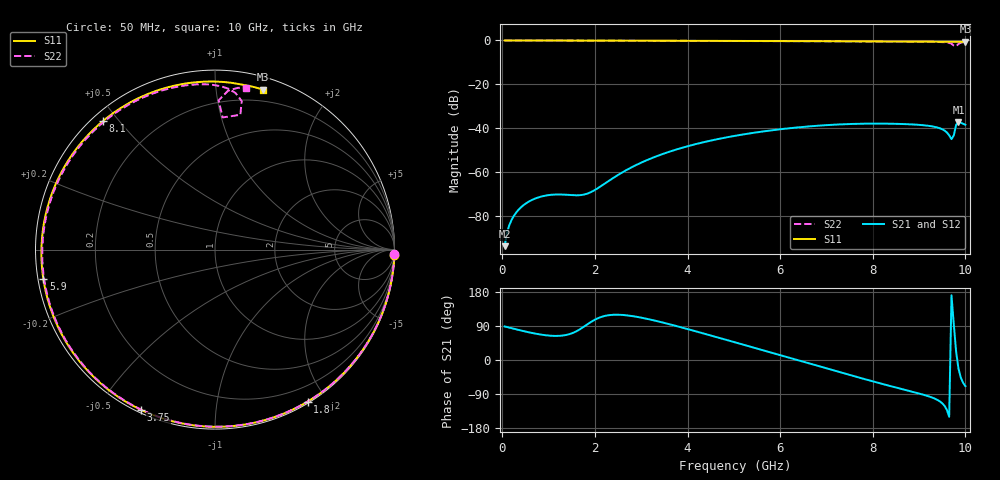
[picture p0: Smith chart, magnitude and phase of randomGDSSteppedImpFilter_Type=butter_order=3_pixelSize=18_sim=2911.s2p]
! freq	dB(S11)	phase(S11)	dB(S12)	phase(S12)
!  dB(S21)	phase(S21)	dB(S22)	phase(S22)
!S-par simulation data
#  GHz  S  DB  R 50
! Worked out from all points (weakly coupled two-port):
!   200 points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, 50 MHz to 10 GHz, reference 50 ohm
!   highest |S21| = -37.26 dB at 9.85 GHz (marker M1); lowest = -93.8 dB at 50 MHz (marker M2)
!   lowest |S11| = -0.6 dB at 10 GHz (marker M3), VSWR 27.77, Z = 5.05 + j67.1 ohm
!   |S11| at or under -10 dB: nowhere
!   |S22| runs from -2.6 to 0.0 dB; largest |S21 - S12| = 0
!   S11 on the Smith chart (normalised r, x): 50 MHz: 0, -68; 1.8 GHz: 0.02, -1.78; 3.75 GHz: 0.01, -0.64; 5.9 GHz: 0.02, -0.09; 8.1 GHz: 0.03, +0.45; 10 GHz: 0.10, +1.34
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0.05  -0.00 -1.7  -93.82 88.5  -93.82 88.5  -0.00 -1.5
0.25  -0.01 -8.4  -80.00 82.3  -80.00 82.3  -0.01 -7.4
0.5  -0.02 -16.7  -74.47 75.1  -74.47 75.1  -0.02 -14.7
0.85  -0.04 -28.3  -71.15 66.8  -71.15 66.8  -0.03 -24.8
1.75  -0.07 -57.1  -70.35 86.8  -70.35 86.8  -0.06 -50.5
1.8  -0.07 -58.6  -70.09 91.0  -70.09 91.0  -0.07 -51.9
2.6  -0.10 -82.6  -60.07 118.9  -60.07 118.9  -0.09 -73.8
3.4  -0.13 -105.3  -52.27 100.9  -52.27 100.9  -0.12 -95.0
3.75  -0.14 -114.8  -49.79 89.9  -49.79 89.9  -0.14 -104.1
5.05  -0.21 -148.6  -43.40 45.8  -43.40 45.8  -0.21 -137.2
5.9  -0.26 -170.2  -40.76 16.4  -40.76 16.4  -0.27 -159.1
6.7  -0.32 169.3  -39.06 -11.5  -39.06 -11.5  -0.33 179.6
7.4  -0.38 150.7  -38.19 -35.9  -38.19 -35.9  -0.40 159.9
8.1  -0.44 131.2  -37.92 -59.7  -37.92 -59.7  -0.48 138.9
8.35  -0.46 124.0  -37.96 -67.8  -37.96 -67.8  -0.50 130.9
9.35  -0.56 93.8  -39.46 -102.5  -39.46 -102.5  -0.67 96.2
9.55  -0.58 87.5  -41.09 -121.1  -41.09 -121.1  -0.82 87.7
9.7  -0.61 82.8  -45.01 170.7  -45.01 170.7  -1.50 79.8
9.75  -0.61 81.2  -43.28 93.0  -43.28 93.0  -2.34 79.3
9.8  -0.62 79.7  -38.51 22.0  -38.51 22.0  -2.64 86.7
9.85  -0.62 78.1  -37.26 -22.4  -37.26 -22.4  -1.59 88.6
10  -0.63 73.2  -38.45 -68.9  -38.45 -68.9  -0.73 79.2
